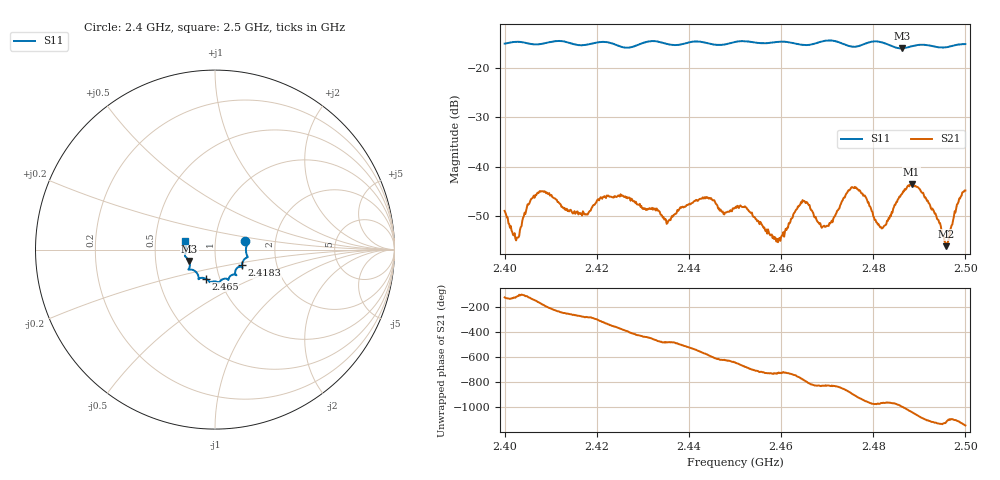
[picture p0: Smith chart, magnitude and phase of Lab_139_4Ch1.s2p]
# Hz S RI R
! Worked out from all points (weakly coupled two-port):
!   601 points, 2.4 GHz to 2.5 GHz, reference 50 ohm
!   highest |S21| = -43.57 dB at 2.4883 GHz (marker M1); lowest = -56.1 dB at 2.4958 GHz (marker M2)
!   lowest |S11| = -16.1 dB at 2.4862 GHz (marker M3), VSWR 1.37, Z = 37.1 - j4.8 ohm
!   |S11| at or under -10 dB: start of sweep to end of sweep
!   S12 and S22 are empty: the file has one direction only
!   S11 on the Smith chart (normalised r, x): 2.4 GHz: 1.40, +0.13; 2.4183 GHz: 1.33, -0.24; 2.465 GHz: 0.86, -0.29; 2.5 GHz: 0.71, +0.07
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2.4e9  0.1695 0.0459  -0.00215 -0.00284  0 0  0 0
2.402667e9  0.1798 0.0345  -0.000951 -0.00166  0 0  0 0
2.407667e9  0.1731 -0.0118  -0.0056 -0.000775  0 0  0 0
2.416667e9  0.1547 -0.068  0.000482 0.00332  0 0  0 0
2.418333e9  0.1499 -0.087  0.000906 0.00338  0 0  0 0
2.425167e9  0.1326 -0.0965  0.00504 -0.00146  0 0  0 0
2.433333e9  0.1176 -0.1411  -0.00145 -0.0033  0 0  0 0
2.4355e9  0.1042 -0.1384  -0.00148 -0.0024  0 0  0 0
2.4435e9  0.0706 -0.1653  -0.00402 0.00255  0 0  0 0
2.45e9  0.0252 -0.1808  0.000786 0.00374  0 0  0 0
2.459333e9  -0.0253 -0.1812  0.00171 -0.000166  0 0  0 0
2.465e9  -0.0525 -0.1617  0.00192 -0.00407  0 0  0 0
2.466667e9  -0.0714 -0.1571  -0.00046 -0.00358  0 0  0 0
2.47e9  -0.0918 -0.1646  -0.000706 -0.00243  0 0  0 0
2.475833e9  -0.1086 -0.1218  -0.00606 0.000173  0 0  0 0
2.4815e9  -0.147 -0.1086  -0.000865 0.00227  0 0  0 0
2.483333e9  -0.1414 -0.0964  -0.00146 0.00263  0 0  0 0
2.486167e9  -0.144 -0.063  0.000294 0.00524  0 0  0 0
2.488333e9  -0.1589 -0.0444  0.00482 0.00456  0 0  0 0
2.491833e9  -0.1668 -0.0295  0.00419 -0.00168  0 0  0 0
2.495833e9  -0.1607 0.0147  0.00127 -0.000918  0 0  0 0
2.5e9  -0.1673 0.0467  0.00262 -0.0051  0 0  0 0
